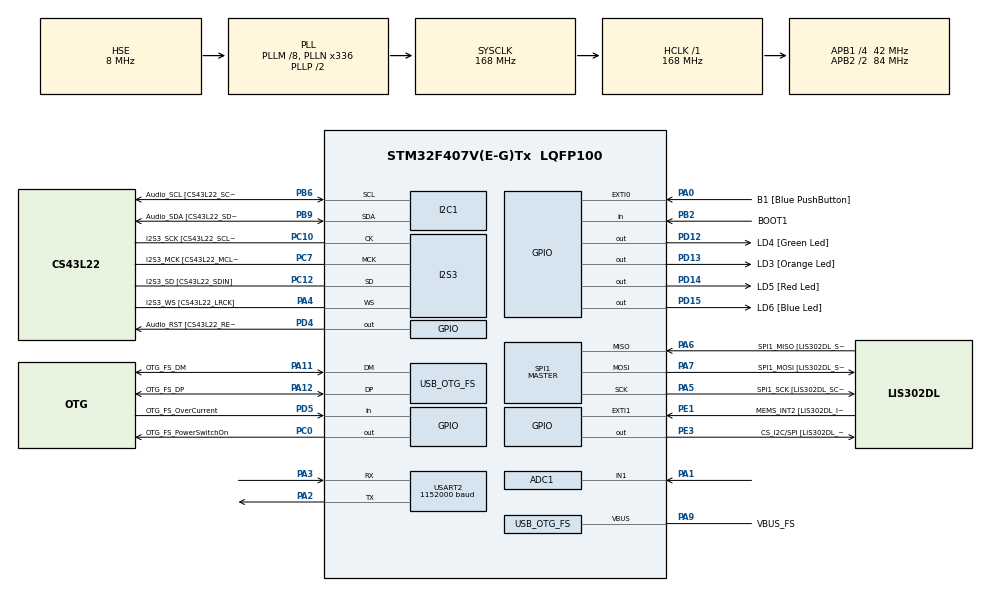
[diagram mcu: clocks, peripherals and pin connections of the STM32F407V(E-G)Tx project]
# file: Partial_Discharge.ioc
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ADC1.Channel-1\#ChannelRegularConversion=ADC_CHANNEL_1
ADC1.DMAContinuousRequests=ENABLE
ADC1.ExternalTrigConv=ADC_EXTERNALTRIGCONV_T2_TRGO
ADC1.NbrOfConversionFlag=1
ADC1.Rank-1\#ChannelRegularConversion=1
ADC1.SamplingTime-1\#ChannelRegularConversion=ADC_SAMPLETIME_3CYCLES
ADC1.master=1
Dma.ADC1.0.Direction=DMA_PERIPH_TO_MEMORY
Dma.ADC1.0.FIFOMode=DMA_FIFOMODE_DISABLE
Dma.ADC1.0.Instance=DMA2_Stream0
Dma.ADC1.0.MemDataAlignment=DMA_MDATAALIGN_HALFWORD
Dma.ADC1.0.MemInc=DMA_MINC_ENABLE
Dma.ADC1.0.Mode=DMA_CIRCULAR
Dma.ADC1.0.PeriphDataAlignment=DMA_PDATAALIGN_HALFWORD
Dma.ADC1.0.PeriphInc=DMA_PINC_DISABLE
Dma.ADC1.0.Priority=DMA_PRIORITY_VERY_HIGH
Dma.Request0=ADC1
I2S3.AudioFreq-Half_Duplex_Master=I2S_AUDIOFREQ_96K
I2S3.ErrorAudioFreq=-2.34 %
I2S3.ErrorAudioFreq-Half_Duplex_Master=0.8 %
I2S3.FullDuplexMode=I2S_FULLDUPLEXMODE_DISABLE
I2S3.Instance=SPI$Index
I2S3.RealAudioFreq=93.75 KHz
I2S3.RealAudioFreq-Half_Duplex_Master=96.774 KHz
I2S3.VirtualMode=I2S_MODE_MASTER
Mcu.Family=STM32F4
Mcu.Name=STM32F407V(E-G)Tx
Mcu.Package=LQFP100
NVIC.DMA2_Stream0_IRQn=true\:0\:0\:false\:false\:true\:false\:true\:true
NVIC.OTG_FS_IRQn=true\:0\:0\:false\:false\:true\:true\:true\:true
NVIC.PriorityGroup=NVIC_PRIORITYGROUP_0
NVIC.USART2_IRQn=true\:0\:0\:false\:false\:true\:true\:true\:true
PA0-WKUP.GPIO_Label=B1 [Blue PushButton]
PA0-WKUP.GPIO_ModeDefaultEXTI=GPIO_MODE_EVT_RISING
PA0-WKUP.GPIO_PuPd=GPIO_NOPULL
PA0-WKUP.Signal=GPXTI0
PA1.Signal=ADCx_IN1
PA10.GPIO_Label=OTG_FS_ID
PA10.GPIO_Mode=GPIO_MODE_AF_PP
PA10.GPIO_PuPd=GPIO_NOPULL
PA10.GPIO_Speed=GPIO_SPEED_FREQ_LOW
PA10.Signal=USB_OTG_FS_ID
PA11.GPIO_Label=OTG_FS_DM
PA11.GPIO_Mode=GPIO_MODE_AF_PP
PA11.GPIO_PuPd=GPIO_NOPULL
PA11.GPIO_Speed=GPIO_SPEED_FREQ_LOW
PA11.Mode=Device_Only
PA11.Signal=USB_OTG_FS_DM
PA12.GPIO_Label=OTG_FS_DP
PA12.GPIO_Mode=GPIO_MODE_AF_PP
PA12.GPIO_PuPd=GPIO_NOPULL
PA12.GPIO_Speed=GPIO_SPEED_FREQ_LOW
PA12.Mode=Device_Only
PA12.Signal=USB_OTG_FS_DP
PA13.GPIO_Label=SWDIO
PA13.Mode=Serial_Wire
PA13.Signal=SYS_JTMS-SWDIO
PA14.GPIO_Label=SWCLK
PA14.Mode=Serial_Wire
PA14.Signal=SYS_JTCK-SWCLK
PA2.Mode=Asynchronous
PA2.Signal=USART2_TX
PA3.Mode=Asynchronous
PA3.Signal=USART2_RX
PA4.GPIO_Label=I2S3_WS [CS43L22_LRCK]
PA4.GPIO_Mode=GPIO_MODE_AF_PP
PA4.GPIO_PuPd=GPIO_NOPULL
PA4.GPIO_Speed=GPIO_SPEED_FREQ_LOW
PA4.Mode=Half_Duplex_Master
PA4.Signal=I2S3_WS
PA5.GPIO_Label=SPI1_SCK [LIS302DL_SCL/SPC]
PA5.GPIO_Mode=GPIO_MODE_AF_PP
PA5.GPIO_PuPd=GPIO_NOPULL
PA5.GPIO_Speed=GPIO_SPEED_FREQ_LOW
PA5.Mode=Full_Duplex_Master
PA5.Signal=SPI1_SCK
PA6.GPIO_Label=SPI1_MISO [LIS302DL_SDO]
PA6.GPIO_Mode=GPIO_MODE_AF_PP
PA6.GPIO_PuPd=GPIO_NOPULL
PA6.GPIO_Speed=GPIO_SPEED_FREQ_LOW
PA6.Mode=Full_Duplex_Master
PA6.Signal=SPI1_MISO
PA7.GPIO_Label=SPI1_MOSI [LIS302DL_SDA/SDI/SDO]
PA7.GPIO_Mode=GPIO_MODE_AF_PP
PA7.GPIO_PuPd=GPIO_NOPULL
PA7.GPIO_Speed=GPIO_SPEED_FREQ_LOW
PA7.Mode=Full_Duplex_Master
PA7.Signal=SPI1_MOSI
PA9.GPIO_Label=VBUS_FS
PA9.GPIO_Mode=GPIO_MODE_INPUT
PA9.GPIO_PuPd=GPIO_NOPULL
PA9.Mode=Activate_VBUS
PA9.Signal=USB_OTG_FS_VBUS
PB10.GPIO_Label=CLK_IN [MP45DT02_CLK]
PB10.GPIO_Mode=GPIO_MODE_AF_PP
PB10.GPIO_PuPd=GPIO_NOPULL
PB10.GPIO_Speed=GPIO_SPEED_FREQ_LOW
PB10.Signal=I2S2_CK
PB2.GPIO_Label=BOOT1
PB2.GPIO_Mode=GPIO_MODE_INPUT
PB2.GPIO_PuPd=GPIO_NOPULL
PB2.Signal=GPIO_Input
PB3.GPIO_Label=SWO
PB3.Signal=SYS_JTDO-SWO
PB6.GPIO_Label=Audio_SCL [CS43L22_SCL]
PB6.GPIO_Mode=GPIO_MODE_AF_OD
PB6.GPIO_Pu=GPIO_PULLUP
PB6.GPIO_PuPd=GPIO_NOPULL
PB6.GPIO_Speed=GPIO_SPEED_FREQ_LOW
PB6.Mode=I2C
PB6.Signal=I2C1_SCL
PB9.GPIO_Label=Audio_SDA [CS43L22_SDA]
PB9.GPIO_Mode=GPIO_MODE_AF_OD
PB9.GPIO_Pu=GPIO_PULLUP
PB9.GPIO_PuPd=GPIO_NOPULL
PB9.GPIO_Speed=GPIO_SPEED_FREQ_LOW
PB9.Mode=I2C
PB9.Signal=I2C1_SDA
PC0.GPIO_Label=OTG_FS_PowerSwitchOn
PC0.GPIO_PuPd=GPIO_NOPULL
PC0.GPIO_Speed=GPIO_SPEED_FREQ_LOW
PC0.PinState=GPIO_PIN_SET
PC0.Signal=GPIO_Output
PC10.GPIO_Label=I2S3_SCK [CS43L22_SCLK]
PC10.GPIO_Mode=GPIO_MODE_AF_PP
PC10.GPIO_PuPd=GPIO_NOPULL
PC10.GPIO_Speed=GPIO_SPEED_FREQ_LOW
PC10.Mode=Half_Duplex_Master
PC10.Signal=I2S3_CK
PC12.GPIO_Label=I2S3_SD [CS43L22_SDIN]
PC12.GPIO_Mode=GPIO_MODE_AF_PP
PC12.GPIO_PuPd=GPIO_NOPULL
PC12.GPIO_Speed=GPIO_SPEED_FREQ_LOW
PC12.Mode=Half_Duplex_Master
PC12.Signal=I2S3_SD
PC14-OSC32_IN.GPIO_Label=PC14-OSC32_IN
PC14-OSC32_IN.Mode=LSE-External-Oscillator
PC14-OSC32_IN.Signal=RCC_OSC32_IN
PC15-OSC32_OUT.GPIO_Label=PC15-OSC32_OUT
PC15-OSC32_OUT.Mode=LSE-External-Oscillator
PC15-OSC32_OUT.Signal=RCC_OSC32_OUT
PC3.GPIO_Label=PDM_OUT [MP45DT02_DOUT]
PC3.GPIO_Mode=GPIO_MODE_AF_PP
PC3.GPIO_PuPd=GPIO_NOPULL
PC3.GPIO_Speed=GPIO_SPEED_FREQ_LOW
PC3.Signal=I2S2_SD
PC7.GPIO_Label=I2S3_MCK [CS43L22_MCLK]
PC7.GPIO_Mode=GPIO_MODE_AF_PP
PC7.GPIO_PuPd=GPIO_NOPULL
PC7.GPIO_Speed=GPIO_SPEED_FREQ_LOW
PC7.Mode=Master_Clock_Activated
PC7.Signal=I2S3_MCK
PD12.GPIO_Label=LD4 [Green Led]
PD12.GPIO_PuPd=GPIO_NOPULL
PD12.GPIO_Speed=GPIO_SPEED_FREQ_LOW
PD12.Signal=GPIO_Output
PD13.GPIO_Label=LD3 [Orange Led]
PD13.GPIO_PuPd=GPIO_NOPULL
PD13.GPIO_Speed=GPIO_SPEED_FREQ_LOW
PD13.Signal=GPIO_Output
PD14.GPIO_Label=LD5 [Red Led]
PD14.GPIO_PuPd=GPIO_NOPULL
PD14.GPIO_Speed=GPIO_SPEED_FREQ_LOW
PD14.Signal=GPIO_Output
PD15.GPIO_Label=LD6 [Blue Led]
PD15.GPIO_PuPd=GPIO_NOPULL
PD15.GPIO_Speed=GPIO_SPEED_FREQ_LOW
PD15.Signal=GPIO_Output
PD4.GPIO_Label=Audio_RST [CS43L22_RESET]
PD4.GPIO_PuPd=GPIO_NOPULL
PD4.GPIO_Speed=GPIO_SPEED_FREQ_LOW
PD4.Signal=GPIO_Output
PD5.GPIO_Label=OTG_FS_OverCurrent
PD5.GPIO_Mode=GPIO_MODE_INPUT
PD5.GPIO_PuPd=GPIO_NOPULL
PD5.Signal=GPIO_Input
PE1.GPIO_Label=MEMS_INT2 [LIS302DL_INT2]
PE1.GPIO_ModeDefaultEXTI=GPIO_MODE_EVT_RISING
PE1.GPIO_PuPd=GPIO_NOPULL
PE1.Signal=GPXTI1
PE3.GPIO_Label=CS_I2C/SPI [LIS302DL_CS_I2C/SPI]
PE3.GPIO_PuPd=GPIO_NOPULL
PE3.GPIO_Speed=GPIO_SPEED_FREQ_LOW
PE3.Signal=GPIO_Output
PH0-OSC_IN.GPIO_Label=PH0-OSC_IN
PH0-OSC_IN.Mode=HSE-External-Oscillator
PH0-OSC_IN.Signal=RCC_OSC_IN
PH1-OSC_OUT.GPIO_Label=PH1-OSC_OUT
PH1-OSC_OUT.Mode=HSE-External-Oscillator
PH1-OSC_OUT.Signal=RCC_OSC_OUT
ProjectManager.HeapSize=0x200
ProjectManager.StackSize=0x400
ProjectManager.TargetToolchain=STM32CubeIDE
RCC.48MHZClocksFreq_Value=48000000
RCC.AHBFreq_Value=168000000
RCC.APB1CLKDivider=RCC_HCLK_DIV4
RCC.APB1Freq_Value=42000000
RCC.APB1TimFreq_Value=84000000
RCC.APB2CLKDivider=RCC_HCLK_DIV2
RCC.APB2Freq_Value=84000000
RCC.APB2TimFreq_Value=168000000
RCC.CortexFreq_Value=168000000
RCC.HCLKFreq_Value=168000000
RCC.HSE_VALUE=8000000
RCC.HSI_VALUE=16000000
RCC.PLLM=8
RCC.PLLN=336
RCC.PLLQ=7
RCC.SYSCLKFreq_VALUE=168000000
RCC.SYSCLKSource=RCC_SYSCLKSOURCE_PLLCLK
RCC.VCOOutputFreq_Value=336000000
SH.ADCx_IN1.0=ADC1_IN1,IN1
SPI1.BaudRatePrescaler-Full_Duplex_Master=SPI_BAUDRATEPRESCALER_2
SPI1.CalculateBaudRate-Full_Duplex_Master=42.0 MBits/s
SPI1.Direction=SPI_DIRECTION_2LINES
SPI1.Mode=SPI_MODE_MASTER
SPI1.Mode-Full_Duplex_Master=SPI_MODE_MASTER
SPI1.VirtualType=VM_MASTER
TIM2.Period=874
TIM2.TIM_MasterOutputTrigger=TIM_TRGO_UPDATE
TIM2.TIM_MasterSlaveMode=TIM_MASTERSLAVEMODE_ENABLE
USART2.BaudRate=1152000
USART2.VirtualMode=VM_ASYNC
USB_DEVICE.CLASS_NAME_FS=CDC
USB_DEVICE.VirtualMode-CDC_FS=Cdc
USB_DEVICE.VirtualModeFS=Cdc_FS
USB_OTG_FS.VirtualMode=Device_Only
VP_TIM2_VS_ClockSourceINT.Mode=Internal
VP_USB_DEVICE_VS_USB_DEVICE_CDC_FS.Mode=CDC_FS
board=STM32F407G-DISC1

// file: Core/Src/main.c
/* USER CODE BEGIN Header */
/**
  ******************************************************************************
  * @file           : main.c
  * @brief          : Main program body
  ******************************************************************************
  * @attention
  *
  * Copyright (c) 2026 STMicroelectronics.
  * All rights reserved.
  *
  * This software is licensed under terms that can be found in the LICENSE file
  * in the root directory of this software component.
  * If no LICENSE file comes with this software, it is provided AS-IS.
  *
  ******************************************************************************
  */
/* USER CODE END Header */
#include "main.h"
#include "usb_device.h"

/* USER CODE BEGIN Includes */
#include <stdio.h>
#include "usbd_cdc_if.h"  // <-- DITAMBAHKAN: Header untuk menggunakan fungsi CDC_Transmit_FS
/* USER CODE END Includes */

ADC_HandleTypeDef hadc1;
DMA_HandleTypeDef hdma_adc1;

I2C_HandleTypeDef hi2c1;

I2S_HandleTypeDef hi2s3;

SPI_HandleTypeDef hspi1;

TIM_HandleTypeDef htim2;

UART_HandleTypeDef huart2;

/* USER CODE BEGIN PV */

uint32_t adc_value = 0;
char uart_buf[128];

// Jumlah data yang disimpan di RAM
#define BUFFER_SIZE 512

// Struct untuk menyimpan ADC + timestamp
typedef struct
{
    uint32_t adc;
    uint32_t timestamp;
} ADC_Data_t;

#define ADC_BUF_SIZE 8192

uint16_t adc_buffer[ADC_BUF_SIZE];

volatile uint8_t tx_half = 0;
volatile uint8_t tx_full = 0;

volatile uint32_t usb_busy_count = 0;
volatile uint32_t sample_blocks = 0;
/* USER CODE END PV */

void SystemClock_Config(void);
static void MX_GPIO_Init(void);
static void MX_DMA_Init(void);
static void MX_ADC1_Init(void);
static void MX_I2C1_Init(void);
static void MX_I2S3_Init(void);
static void MX_SPI1_Init(void);
static void MX_USART2_UART_Init(void);
static void MX_TIM2_Init(void);

int main(void)
{

  /* MCU Configuration--------------------------------------------------------*/

  /* Reset of all peripherals, Initializes the Flash interface and the Systick. */
  HAL_Init();

  /* Configure the system clock */
  SystemClock_Config();

  /* USER CODE BEGIN SysInit */
	HAL_Delay(100);

	sprintf(uart_buf,
	        "CTRL=%08lX CYCCNT=%lu\r\n",
	        DWT->CTRL,
	        DWT->CYCCNT);

	CDC_Transmit_FS((uint8_t*)uart_buf, strlen(uart_buf));
  /* USER CODE END SysInit */

  /* Initialize all configured peripherals */
  MX_GPIO_Init();
  MX_DMA_Init();
  MX_ADC1_Init();
  MX_I2C1_Init();
  MX_I2S3_Init();
  MX_SPI1_Init();
  MX_USART2_UART_Init();
  MX_USB_DEVICE_Init();
  MX_TIM2_Init();
  /* USER CODE BEGIN 2 */
  HAL_TIM_Base_Start(&htim2);

  HAL_ADC_Start_DMA(
      &hadc1,
      (uint32_t*)adc_buffer,
      ADC_BUF_SIZE
  );
  /* USER CODE END 2 */

  /* Infinite loop */
  /* USER CODE BEGIN WHILE */
//  while (1)
//  {
//    /* USER CODE END WHILE */
//
//    /* USER CODE BEGIN 3 */
//  }
  uint32_t last_report = HAL_GetTick();

//    while (1)
//    {
//        /* USER CODE END WHILE */
//
//        /* USER CODE BEGIN 3 */
//
//        // 1. Tangani setengah buffer pertama (Half Transfer)
//        if(tx_half)
//        {
//            // Tunggu jika USB masih sibuk mengirim data sebelumnya
//            while(CDC_Transmit_FS(
//                    (uint8_t*)&adc_buffer[0],
//                    (ADC_BUF_SIZE/2)*sizeof(uint16_t)) == USBD_BUSY)
//            {
//                usb_busy_count++; // Mencatat berapa kali USB sempat sibuk
//            }
//
//            tx_half = 0; // Hapus flag HANYA SETELAH data sukses diserahkan ke USB
//            sample_blocks++;
//        }
//
//        // 2. Tangani setengah buffer kedua (Transfer Complete)
//        if(tx_full)
//        {
//            // Tunggu jika USB masih sibuk
//            while(CDC_Transmit_FS(
//                    (uint8_t*)&adc_buffer[ADC_BUF_SIZE/2],
//                    (ADC_BUF_SIZE/2)*sizeof(uint16_t)) == USBD_BUSY)
//            {
//                usb_busy_count++;
//            }
//
//            tx_full = 0; // Hapus flag HANYA SETELAH data sukses diserahkan ke USB
//            sample_blocks++;
//        }
//
//        // 3. Laporan diagnostik berkala setiap 1 detik via UART2 (Lebih aman dibanding via USB)
//        if(HAL_GetTick() - last_report >= 1000)
//        {
//            last_report = HAL_GetTick();
//
//            sprintf(
//                uart_buf,
//                "blocks=%lu usb_busy_retries=%lu\r\n",
//                sample_blocks,
//                usb_busy_count
//            );
//
//            // Menggunakan UART fisik agar tidak mengganggu jalur data utama USB CDC
//            HAL_UART_Transmit(&huart2, (uint8_t*)uart_buf, strlen(uart_buf), 10);
//        }
//    }
  while (1)
    {
        // Jika setengah buffer selesai diisi oleh DMA
        if(tx_half)
        {
            tx_half = 0;
            // Kita print beberapa sampel saja ke Serial Monitor agar tidak overload
            for(int i = 0; i < 10; i++)
            {
//                int len = sprintf(uart_buf, ">ADC:%u\n", adc_buffer[i]);
            	int len = sprintf(uart_buf, "%u\r\n", adc_buffer[i]);
                while(CDC_Transmit_FS((uint8_t*)uart_buf, len) == USBD_BUSY);
            }
        }

        if(tx_full)
        {
            tx_full = 0;
            // Kita print beberapa sampel dari setengah buffer kedua
            for(int i = (ADC_BUF_SIZE/2); i < (ADC_BUF_SIZE/2) + 10; i++)
            {
//                int len = sprintf(uart_buf, "ADC: %u\r\n", adc_buffer[i]);
            	int len = sprintf(uart_buf, "%u\r\n", adc_buffer[i]);
//            	int len = sprintf(uart_buf, ">ADC:%u\n", adc_buffer[i]);
            	while(CDC_Transmit_FS((uint8_t*)uart_buf, len) == USBD_BUSY);
            }
        }
    }
  /* USER CODE END 3 */
}

void SystemClock_Config(void)
{
  RCC_OscInitTypeDef RCC_OscInitStruct = {0};
  RCC_ClkInitTypeDef RCC_ClkInitStruct = {0};

  /** Configure the main internal regulator output voltage
  */
  __HAL_RCC_PWR_CLK_ENABLE();
  __HAL_PWR_VOLTAGESCALING_CONFIG(PWR_REGULATOR_VOLTAGE_SCALE1);

  /** Initializes the RCC Oscillators according to the specified parameters
  * in the RCC_OscInitTypeDef structure.
  */
  RCC_OscInitStruct.OscillatorType = RCC_OSCILLATORTYPE_HSE;
  RCC_OscInitStruct.HSEState = RCC_HSE_ON;
  RCC_OscInitStruct.PLL.PLLState = RCC_PLL_ON;
  RCC_OscInitStruct.PLL.PLLSource = RCC_PLLSOURCE_HSE;
  RCC_OscInitStruct.PLL.PLLM = 8;
  RCC_OscInitStruct.PLL.PLLN = 336;
  RCC_OscInitStruct.PLL.PLLP = RCC_PLLP_DIV2;
  RCC_OscInitStruct.PLL.PLLQ = 7;
  if (HAL_RCC_OscConfig(&RCC_OscInitStruct) != HAL_OK)
  {
    Error_Handler();
  }

  /** Initializes the CPU, AHB and APB buses clocks
  */
  RCC_ClkInitStruct.ClockType = RCC_CLOCKTYPE_HCLK|RCC_CLOCKTYPE_SYSCLK
                              |RCC_CLOCKTYPE_PCLK1|RCC_CLOCKTYPE_PCLK2;
  RCC_ClkInitStruct.SYSCLKSource = RCC_SYSCLKSOURCE_PLLCLK;
  RCC_ClkInitStruct.AHBCLKDivider = RCC_SYSCLK_DIV1;
  RCC_ClkInitStruct.APB1CLKDivider = RCC_HCLK_DIV4;
  RCC_ClkInitStruct.APB2CLKDivider = RCC_HCLK_DIV2;

  if (HAL_RCC_ClockConfig(&RCC_ClkInitStruct, FLASH_LATENCY_5) != HAL_OK)
  {
    Error_Handler();
  }
}

static void MX_ADC1_Init(void)
{

  ADC_ChannelConfTypeDef sConfig = {0};

  /** Configure the global features of the ADC (Clock, Resolution, Data Alignment and number of conversion)
  */
  hadc1.Instance = ADC1;
  hadc1.Init.ClockPrescaler = ADC_CLOCK_SYNC_PCLK_DIV4;
  hadc1.Init.Resolution = ADC_RESOLUTION_12B;
  hadc1.Init.ScanConvMode = DISABLE;
  hadc1.Init.ContinuousConvMode = DISABLE;
  hadc1.Init.DiscontinuousConvMode = DISABLE;
  hadc1.Init.ExternalTrigConvEdge = ADC_EXTERNALTRIGCONVEDGE_RISING;
  hadc1.Init.ExternalTrigConv = ADC_EXTERNALTRIGCONV_T2_TRGO;
  hadc1.Init.DataAlign = ADC_DATAALIGN_RIGHT;
  hadc1.Init.NbrOfConversion = 1;
  hadc1.Init.DMAContinuousRequests = ENABLE;
  hadc1.Init.EOCSelection = ADC_EOC_SINGLE_CONV;
  if (HAL_ADC_Init(&hadc1) != HAL_OK)
  {
    Error_Handler();
  }

  /** Configure for the selected ADC regular channel its corresponding rank in the sequencer and its sample time.
  */
  sConfig.Channel = ADC_CHANNEL_1;
  sConfig.Rank = 1;
  sConfig.SamplingTime = ADC_SAMPLETIME_3CYCLES;
  if (HAL_ADC_ConfigChannel(&hadc1, &sConfig) != HAL_OK)
  {
    Error_Handler();
  }

}

static void MX_I2C1_Init(void)
{

  hi2c1.Instance = I2C1;
  hi2c1.Init.ClockSpeed = 100000;
  hi2c1.Init.DutyCycle = I2C_DUTYCYCLE_2;
  hi2c1.Init.OwnAddress1 = 0;
  hi2c1.Init.AddressingMode = I2C_ADDRESSINGMODE_7BIT;
  hi2c1.Init.DualAddressMode = I2C_DUALADDRESS_DISABLE;
  hi2c1.Init.OwnAddress2 = 0;
  hi2c1.Init.GeneralCallMode = I2C_GENERALCALL_DISABLE;
  hi2c1.Init.NoStretchMode = I2C_NOSTRETCH_DISABLE;
  if (HAL_I2C_Init(&hi2c1) != HAL_OK)
  {
    Error_Handler();
  }

}

static void MX_I2S3_Init(void)
{

  hi2s3.Instance = SPI3;
  hi2s3.Init.Mode = I2S_MODE_MASTER_TX;
  hi2s3.Init.Standard = I2S_STANDARD_PHILIPS;
  hi2s3.Init.DataFormat = I2S_DATAFORMAT_16B;
  hi2s3.Init.MCLKOutput = I2S_MCLKOUTPUT_ENABLE;
  hi2s3.Init.AudioFreq = I2S_AUDIOFREQ_96K;
  hi2s3.Init.CPOL = I2S_CPOL_LOW;
  hi2s3.Init.ClockSource = I2S_CLOCK_PLL;
  hi2s3.Init.FullDuplexMode = I2S_FULLDUPLEXMODE_DISABLE;
  if (HAL_I2S_Init(&hi2s3) != HAL_OK)
  {
    Error_Handler();
  }

}

static void MX_SPI1_Init(void)
{

  /* SPI1 parameter configuration*/
  hspi1.Instance = SPI1;
  hspi1.Init.Mode = SPI_MODE_MASTER;
  hspi1.Init.Direction = SPI_DIRECTION_2LINES;
  hspi1.Init.DataSize = SPI_DATASIZE_8BIT;
  hspi1.Init.CLKPolarity = SPI_POLARITY_LOW;
  hspi1.Init.CLKPhase = SPI_PHASE_1EDGE;
  hspi1.Init.NSS = SPI_NSS_SOFT;
  hspi1.Init.BaudRatePrescaler = SPI_BAUDRATEPRESCALER_2;
  hspi1.Init.FirstBit = SPI_FIRSTBIT_MSB;
  hspi1.Init.TIMode = SPI_TIMODE_DISABLE;
  hspi1.Init.CRCCalculation = SPI_CRCCALCULATION_DISABLE;
  hspi1.Init.CRCPolynomial = 10;
  if (HAL_SPI_Init(&hspi1) != HAL_OK)
  {
    Error_Handler();
  }

}

static void MX_TIM2_Init(void)
{

  TIM_ClockConfigTypeDef sClockSourceConfig = {0};
  TIM_MasterConfigTypeDef sMasterConfig = {0};

  htim2.Instance = TIM2;
  htim2.Init.CounterMode = TIM_COUNTERMODE_UP;
  htim2.Init.Prescaler = 0;
  htim2.Init.Period    = 839;   // ≈500 kHz
  htim2.Init.ClockDivision = TIM_CLOCKDIVISION_DIV1;
  htim2.Init.AutoReloadPreload = TIM_AUTORELOAD_PRELOAD_DISABLE;
  if (HAL_TIM_Base_Init(&htim2) != HAL_OK)
  {
    Error_Handler();
  }
  sClockSourceConfig.ClockSource = TIM_CLOCKSOURCE_INTERNAL;
  if (HAL_TIM_ConfigClockSource(&htim2, &sClockSourceConfig) != HAL_OK)
  {
    Error_Handler();
  }
  sMasterConfig.MasterOutputTrigger = TIM_TRGO_UPDATE;
  sMasterConfig.MasterSlaveMode = TIM_MASTERSLAVEMODE_ENABLE;
  if (HAL_TIMEx_MasterConfigSynchronization(&htim2, &sMasterConfig) != HAL_OK)
  {
    Error_Handler();
  }

}

static void MX_USART2_UART_Init(void)
{

  huart2.Instance = USART2;
  huart2.Init.BaudRate = 1152000;
  huart2.Init.WordLength = UART_WORDLENGTH_8B;
  huart2.Init.StopBits = UART_STOPBITS_1;
  huart2.Init.Parity = UART_PARITY_NONE;
  huart2.Init.Mode = UART_MODE_TX_RX;
  huart2.Init.HwFlowCtl = UART_HWCONTROL_NONE;
  huart2.Init.OverSampling = UART_OVERSAMPLING_16;
  if (HAL_UART_Init(&huart2) != HAL_OK)
  {
    Error_Handler();
  }

}

static void MX_DMA_Init(void)
{

  /* DMA controller clock enable */
  __HAL_RCC_DMA2_CLK_ENABLE();

  /* DMA interrupt init */
  /* DMA2_Stream0_IRQn interrupt configuration */
  HAL_NVIC_SetPriority(DMA2_Stream0_IRQn, 0, 0);
  HAL_NVIC_EnableIRQ(DMA2_Stream0_IRQn);

}

static void MX_GPIO_Init(void)
{
  GPIO_InitTypeDef GPIO_InitStruct = {0};

  /* GPIO Ports Clock Enable */
  __HAL_RCC_GPIOE_CLK_ENABLE();
  __HAL_RCC_GPIOC_CLK_ENABLE();
  __HAL_RCC_GPIOH_CLK_ENABLE();
  __HAL_RCC_GPIOA_CLK_ENABLE();
  __HAL_RCC_GPIOB_CLK_ENABLE();
  __HAL_RCC_GPIOD_CLK_ENABLE();

  /*Configure GPIO pin Output Level */
  HAL_GPIO_WritePin(CS_I2C_SPI_GPIO_Port, CS_I2C_SPI_Pin, GPIO_PIN_RESET);

  /*Configure GPIO pin Output Level */
  HAL_GPIO_WritePin(OTG_FS_PowerSwitchOn_GPIO_Port, OTG_FS_PowerSwitchOn_Pin, GPIO_PIN_SET);

  /*Configure GPIO pin Output Level */
  HAL_GPIO_WritePin(GPIOD, LD4_Pin|LD3_Pin|LD5_Pin|LD6_Pin
                          |Audio_RST_Pin, GPIO_PIN_RESET);

  /*Configure GPIO pin : CS_I2C_SPI_Pin */
  GPIO_InitStruct.Pin = CS_I2C_SPI_Pin;
  GPIO_InitStruct.Mode = GPIO_MODE_OUTPUT_PP;
  GPIO_InitStruct.Pull = GPIO_NOPULL;
  GPIO_InitStruct.Speed = GPIO_SPEED_FREQ_LOW;
  HAL_GPIO_Init(CS_I2C_SPI_GPIO_Port, &GPIO_InitStruct);

  /*Configure GPIO pin : OTG_FS_PowerSwitchOn_Pin */
  GPIO_InitStruct.Pin = OTG_FS_PowerSwitchOn_Pin;
  GPIO_InitStruct.Mode = GPIO_MODE_OUTPUT_PP;
  GPIO_InitStruct.Pull = GPIO_NOPULL;
  GPIO_InitStruct.Speed = GPIO_SPEED_FREQ_LOW;
  HAL_GPIO_Init(OTG_FS_PowerSwitchOn_GPIO_Port, &GPIO_InitStruct);

  /*Configure GPIO pin : PDM_OUT_Pin */
  GPIO_InitStruct.Pin = PDM_OUT_Pin;
  GPIO_InitStruct.Mode = GPIO_MODE_AF_PP;
  GPIO_InitStruct.Pull = GPIO_NOPULL;
  GPIO_InitStruct.Speed = GPIO_SPEED_FREQ_LOW;
  GPIO_InitStruct.Alternate = GPIO_AF5_SPI2;
  HAL_GPIO_Init(PDM_OUT_GPIO_Port, &GPIO_InitStruct);

  /*Configure GPIO pin : B1_Pin */
  GPIO_InitStruct.Pin = B1_Pin;
  GPIO_InitStruct.Mode = GPIO_MODE_EVT_RISING;
  GPIO_InitStruct.Pull = GPIO_NOPULL;
  HAL_GPIO_Init(B1_GPIO_Port, &GPIO_InitStruct);

  /*Configure GPIO pin : BOOT1_Pin */
  GPIO_InitStruct.Pin = BOOT1_Pin;
  GPIO_InitStruct.Mode = GPIO_MODE_INPUT;
  GPIO_InitStruct.Pull = GPIO_NOPULL;
  HAL_GPIO_Init(BOOT1_GPIO_Port, &GPIO_InitStruct);

  /*Configure GPIO pin : CLK_IN_Pin */
  GPIO_InitStruct.Pin = CLK_IN_Pin;
  GPIO_InitStruct.Mode = GPIO_MODE_AF_PP;
  GPIO_InitStruct.Pull = GPIO_NOPULL;
  GPIO_InitStruct.Speed = GPIO_SPEED_FREQ_LOW;
  GPIO_InitStruct.Alternate = GPIO_AF5_SPI2;
  HAL_GPIO_Init(CLK_IN_GPIO_Port, &GPIO_InitStruct);

  /*Configure GPIO pins : LD4_Pin LD3_Pin LD5_Pin LD6_Pin
                           Audio_RST_Pin */
  GPIO_InitStruct.Pin = LD4_Pin|LD3_Pin|LD5_Pin|LD6_Pin
                          |Audio_RST_Pin;
  GPIO_InitStruct.Mode = GPIO_MODE_OUTPUT_PP;
  GPIO_InitStruct.Pull = GPIO_NOPULL;
  GPIO_InitStruct.Speed = GPIO_SPEED_FREQ_LOW;
  HAL_GPIO_Init(GPIOD, &GPIO_InitStruct);

  /*Configure GPIO pin : OTG_FS_OverCurrent_Pin */
  GPIO_InitStruct.Pin = OTG_FS_OverCurrent_Pin;
  GPIO_InitStruct.Mode = GPIO_MODE_INPUT;
  GPIO_InitStruct.Pull = GPIO_NOPULL;
  HAL_GPIO_Init(OTG_FS_OverCurrent_GPIO_Port, &GPIO_InitStruct);

  /*Configure GPIO pin : MEMS_INT2_Pin */
  GPIO_InitStruct.Pin = MEMS_INT2_Pin;
  GPIO_InitStruct.Mode = GPIO_MODE_EVT_RISING;
  GPIO_InitStruct.Pull = GPIO_NOPULL;
  HAL_GPIO_Init(MEMS_INT2_GPIO_Port, &GPIO_InitStruct);

}

/* USER CODE BEGIN 4 */
//void HAL_ADC_ConvHalfCpltCallback(ADC_HandleTypeDef *hadc)
//{
//    adc_half_ready = 1;
//}
//
//void HAL_ADC_ConvCpltCallback(ADC_HandleTypeDef *hadc)
//{
//    adc_full_ready = 1;
//}
//void HAL_ADC_ConvHalfCpltCallback(ADC_HandleTypeDef *hadc)
//{
//    half_count++;
//}
//
//void HAL_ADC_ConvCpltCallback(ADC_HandleTypeDef *hadc)
//{
//    full_count++;
//}
void HAL_ADC_ConvHalfCpltCallback(ADC_HandleTypeDef *hadc)
{
    tx_half = 1;
}

void HAL_ADC_ConvCpltCallback(ADC_HandleTypeDef *hadc)
{
    tx_full = 1;
}
/* USER CODE END 4 */

void Error_Handler(void)
{
  __disable_irq();
  while (1)
  {
  }
}
